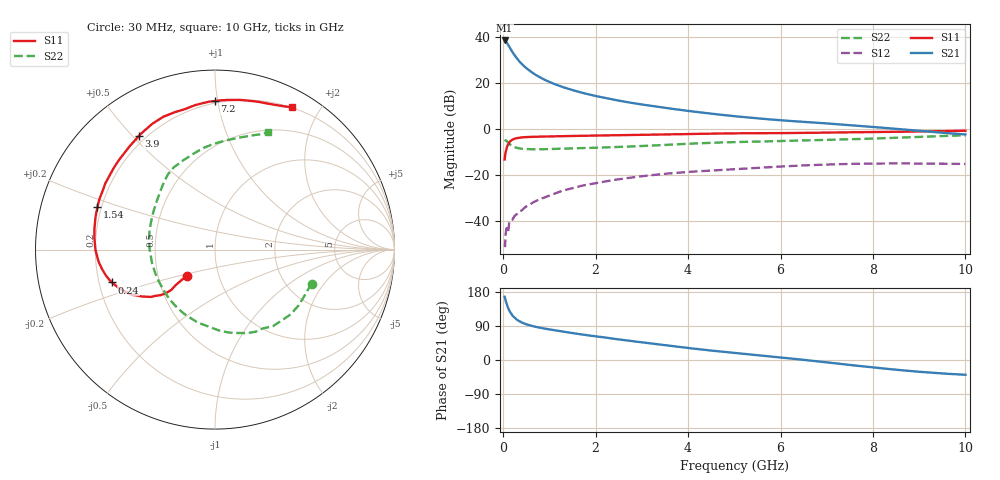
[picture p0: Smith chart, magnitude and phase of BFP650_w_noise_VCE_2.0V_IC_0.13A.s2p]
! Infineon Technologies  Discrete & RF Semiconductors
! BFP650
! VCE =  2.0 V,  IC = 0.13 A
! Common Emitter S-Parameters:  Jan 2016
# GHz  S  MA  R  50
!  f  S11  S21  S12  S22
! GHz  MAG  ANG  MAG  ANG  MAG  ANG  MAG  ANG
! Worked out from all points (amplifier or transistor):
!   229 points, 30 MHz to 10 GHz, reference 50 ohm
!   highest |S21| = 38.3 dB at 30 MHz (marker M1)
!   |S21| within 3 dB of that: start of sweep to 137.6 MHz
!   unconditionally stable (mu >= 1): start of sweep to 46.21 MHz; 799.8 MHz to end of sweep
!   at 280 MHz: K = 0.81, MSG = 34.2 dB, |S12| = -37.3 dB
!   at 1.78 GHz: K = 1.06, MAG = 18.4 dB, |S12| = -24.5 dB
!   at 10 GHz: K = 1.05, MAG = 5.1 dB, |S12| = -15.3 dB
!   lowest NFmin = 1.69 dB at 450 MHz
!   S11 on the Smith chart (normalised r, x): 30 MHz: 0.70, -0.22; 240 MHz: 0.25, -0.15; 1.54 GHz: 0.18, +0.17; 3.9 GHz: 0.17, +0.52; 7.2 GHz: 0.19, +0.98; 10 GHz: 0.20, +1.66
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0.03  0.2143 -137.0  82.69 167.0  0.0031 54.7  0.5703 -19.4
0.06  0.3291 -137.3  78.44 153.8  0.006 78.2  0.555 -40.4
0.08  0.3957 -140.1  73.4 145.7  0.0069 82.8  0.5349 -52.9
0.1  0.4446 -143.6  68.08 139.0  0.0059 68.9  0.5107 -63.5
0.13  0.5039 -149.6  60.22 130.7  0.0093 62.5  0.4716 -79.2
0.15  0.5329 -152.0  55.78 126.2  0.0096 61.5  0.4524 -86.8
0.2  0.5786 -158.4  46.17 117.1  0.0105 58.6  0.4174 -103.5
0.24  0.602 -162.3  40.24 112.1  0.0124 60.6  0.3999 -113.4
0.3  0.6252 -166.8  33.24 105.9  0.0141 61.8  0.3826 -125.7
0.4  0.6462 -172.3  25.56 99.0  0.0167 61.1  0.3668 -139.9
0.5  0.6569 -176.4  20.65 94.2  0.0205 63.6  0.3605 -149.8
0.7  0.6692 177.5  14.78 87.5  0.0267 64.3  0.3572 -163.3
1  0.6814 170.5  10.35 80.5  0.0354 63.4  0.3615 -176.4
1.54  0.6965 160.2  6.715 70.3  0.0522 59.2  0.3741 168.6
1.7  0.701 157.3  6.066 67.5  0.0576 57.9  0.3781 164.9
3.4  0.7431 130.9  2.935 40.7  0.1024 38.7  0.4387 135.1
3.9  0.7613 124.0  2.51 33.2  0.1131 33.0  0.465 128.5
5.1  0.7942 110.4  1.829 17.5  0.1339 21.1  0.5146 115.5
6.8  0.8191 94.6  1.343 -3.4  0.1637 3.7  0.565 97.6
7.2  0.8277 90.1  1.257 -8.9  0.1688 -0.9  0.5778 93.8
8.4  0.8543 75.4  1.011 -24.5  0.1757 -14.1  0.6294 79.8
10  0.9019 61.6  0.749 -39.0  0.1716 -26.6  0.7189 65.6
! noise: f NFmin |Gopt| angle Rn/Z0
0.45  1.69  0.62  -171  0.06
0.9  1.71  0.63  -164  0.07
1.9  1.86  0.65  -149  0.11
2.4  1.98  0.63  -140  0.17
3.5  2.2  0.63  -118  0.32
